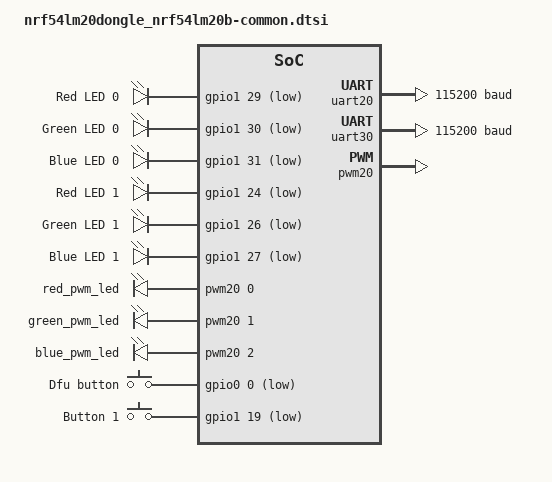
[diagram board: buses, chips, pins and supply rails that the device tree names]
/*
 * Copyright (c) 2026 Nordic Semiconductor ASA
 *
 * SPDX-License-Identifier: LicenseRef-Nordic-5-Clause
 */

#include "nrf54lm20dongle_nrf54lm20b-pinctrl.dtsi"

/ {
	leds {
		compatible = "gpio-leds";

		led0_red: led_0 {
			gpios = <&gpio1 29 GPIO_ACTIVE_LOW>;
			label = "Red LED 0";
		};

		led0_green: led_1 {
			gpios = <&gpio1 30 GPIO_ACTIVE_LOW>;
			label = "Green LED 0";
		};

		led0_blue: led_2 {
			gpios = <&gpio1 31 GPIO_ACTIVE_LOW>;
			label = "Blue LED 0";
		};

		led1_red: led_3 {
			gpios = <&gpio1 24 GPIO_ACTIVE_LOW>;
			label = "Red LED 1";
		};

		led1_green: led_4 {
			gpios = <&gpio1 26 GPIO_ACTIVE_LOW>;
			label = "Green LED 1";
		};

		led1_blue: led_5 {
			gpios = <&gpio1 27 GPIO_ACTIVE_LOW>;
			label = "Blue LED 1";
		};
	};

	pwmleds {
		compatible = "pwm-leds";

		red_pwm_led: pwm_led_0 {
			pwms = <&pwm20 0 PWM_MSEC(20) PWM_POLARITY_INVERTED>;
		};

		green_pwm_led: pwm_led_1 {
			pwms = <&pwm20 1 PWM_MSEC(20) PWM_POLARITY_INVERTED>;
		};

		blue_pwm_led: pwm_led_2 {
			pwms = <&pwm20 2 PWM_MSEC(20) PWM_POLARITY_INVERTED>;
		};
	};

	buttons {
		compatible = "gpio-keys";

		dfu_button: button_0 {
			gpios = <&gpio0 0 (GPIO_PULL_UP | GPIO_ACTIVE_LOW)>;
			label = "Dfu button";
			zephyr,code = <INPUT_KEY_0>;
		};

		btn: button_1 {
			gpios = <&gpio1 19 (GPIO_PULL_UP | GPIO_ACTIVE_LOW)>;
			label = "Button 1";
			zephyr,code = <INPUT_KEY_0>;
		};
	};

	/* These aliases are provided for compatibility with samples */
	aliases {
		led0 = &led0_red;
		led1 = &led0_green;
		led2 = &led0_blue;
		led3 = &led1_red;
		led4 = &led1_green;
		led5 = &led1_blue;
		led0-red = &led0_red;
		led0-green = &led0_green;
		led0-blue = &led0_blue;
		led1-red = &led1_red;
		led1-green = &led1_green;
		led1-blue = &led1_blue;
		pwm-led0 = &red_pwm_led;
		pwm-led1 = &green_pwm_led;
		pwm-led2 = &blue_pwm_led;
		red-pwm-led = &red_pwm_led;
		green-pwm-led = &green_pwm_led;
		blue-pwm-led = &blue_pwm_led;
		sw0 = &btn;
		watchdog0 = &wdt31;
	};
};

&uart20 {
	current-speed = <115200>;
	pinctrl-0 = <&uart20_default>;
	pinctrl-1 = <&uart20_sleep>;
	pinctrl-names = "default", "sleep";
};

&uart30 {
	current-speed = <115200>;
	pinctrl-0 = <&uart30_default>;
	pinctrl-1 = <&uart30_sleep>;
	pinctrl-names = "default", "sleep";
};

&i2c21 {
	compatible = "nordic,nrf-twim";
	pinctrl-0 = <&i2c21_default>;
	pinctrl-1 = <&i2c21_sleep>;
	pinctrl-names = "default", "sleep";
};

&pwm20 {
	status = "okay";
	pinctrl-0 = <&pwm20_default>;
	pinctrl-1 = <&pwm20_sleep>;
	pinctrl-names = "default", "sleep";
};
